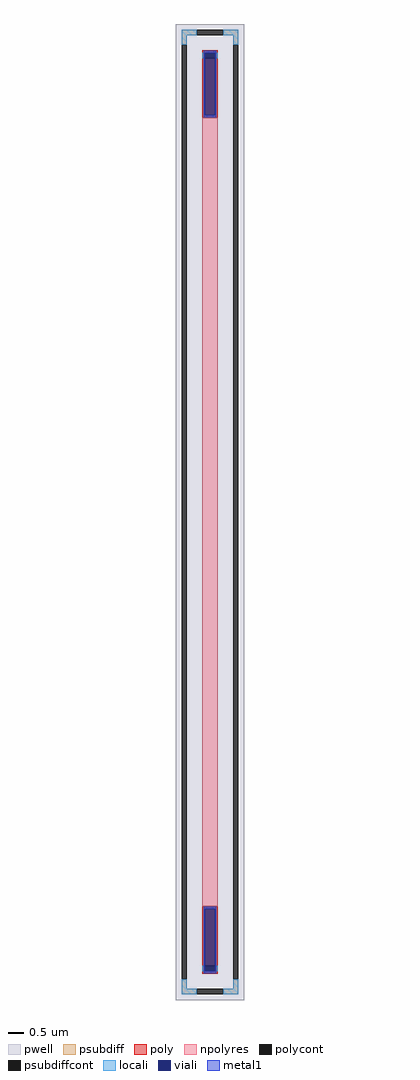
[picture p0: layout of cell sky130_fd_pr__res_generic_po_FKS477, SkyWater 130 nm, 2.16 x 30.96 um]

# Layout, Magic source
magic
tech sky130A
magscale 1 2
<< pwell >>
rect -216 -3096 216 3096
<< psubdiff >>
rect -180 3026 -84 3060
rect 84 3026 180 3060
rect -180 2964 -146 3026
rect 146 2964 180 3026
rect -180 -3026 -146 -2964
rect 146 -3026 180 -2964
rect -180 -3060 -84 -3026
rect 84 -3060 180 -3026
<< psubdiffcont >>
rect -84 3026 84 3060
rect -180 -2964 -146 2964
rect 146 -2964 180 2964
rect -84 -3060 84 -3026
<< poly >>
rect -50 2914 50 2930
rect -50 2880 -34 2914
rect 34 2880 50 2914
rect -50 2500 50 2880
rect -50 -2880 50 -2500
rect -50 -2914 -34 -2880
rect 34 -2914 50 -2880
rect -50 -2930 50 -2914
<< polycont >>
rect -34 2880 34 2914
rect -34 -2914 34 -2880
<< npolyres >>
rect -50 -2500 50 2500
<< locali >>
rect -180 3026 -84 3060
rect 84 3026 180 3060
rect -180 2964 -146 3026
rect 146 2964 180 3026
rect -50 2880 -34 2914
rect 34 2880 50 2914
rect -50 -2914 -34 -2880
rect 34 -2914 50 -2880
rect -180 -3026 -146 -2964
rect 146 -3026 180 -2964
rect -180 -3060 -84 -3026
rect 84 -3060 180 -3026
<< viali >>
rect -34 2880 34 2914
rect -34 2517 34 2880
rect -34 -2880 34 -2517
rect -34 -2914 34 -2880
<< metal1 >>
rect -40 2914 40 2926
rect -40 2517 -34 2914
rect 34 2517 40 2914
rect -40 2505 40 2517
rect -40 -2517 40 -2505
rect -40 -2914 -34 -2517
rect 34 -2914 40 -2517
rect -40 -2926 40 -2914
<< properties >>
string FIXED_BBOX -163 -3043 163 3043
string gencell sky130_fd_pr__res_generic_po
string library sky130
string parameters w 0.5 l 25 m 1 nx 1 wmin 0.330 lmin 1.650 rho 48.2 val 2.41k dummy 0 dw 0.0 term 0.0 sterm 0.0 caplen 0.4 snake 0 guard 1 glc 1 grc 1 gtc 1 gbc 1 roverlap 0 endcov 100 full_metal 1 hv_guard 0 n_guard 0 vias 1 viagb 0 viagt 0 viagl 0 viagr 0
<< end >>
